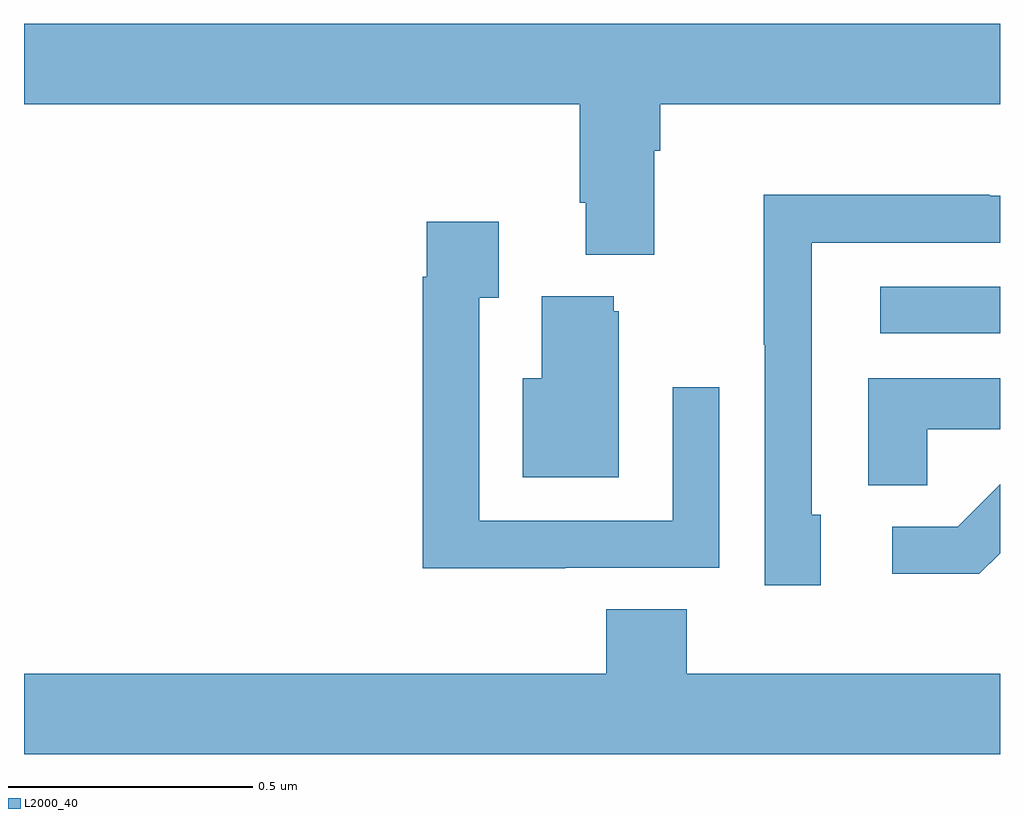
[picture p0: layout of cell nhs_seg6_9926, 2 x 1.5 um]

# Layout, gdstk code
import gdstk
lib = gdstk.Library(unit=1e-6, precision=1e-09)
def R(c, l, rs):  # rectangles x0, y0, x1, y1
    for r in rs: c.add(gdstk.rectangle(r[:2], r[2:], *l))
def P(c, l, *ps):  # polygons
    for p in ps: c.add(gdstk.Polygon(p, *l))
L2000_40 = (2000, 40)

nhs_seg6_9926 = lib.new_cell('nhs_seg6_9926')
R(nhs_seg6_9926, L2000_40, [(241.755,953.526,242,953.622)])
P(nhs_seg6_9926, L2000_40, [(241.291,953.9),(241.304,953.9),(241.304,953.996),(242,953.996),(242,954.16),(240,954.16),(240,953.996),(241.139,953.996),(241.139,953.794),(241.151,953.794),(241.151,953.687),(241.291,953.687)],
  [(241.633,953.154),(241.614,953.154),(241.614,953.712),(242,953.712),(242,953.808),(241.979,953.808),(241.979,953.81),(241.516,953.81),(241.516,953.503),(241.518,953.503),(241.518,953.01),(241.633,953.01)],
  [(241.109,953.046),(241.425,953.046),(241.425,953.416),(241.329,953.416),(241.329,953.142),(240.933,953.142),(240.933,953.599),(240.973,953.599),(240.973,953.755),(240.825,953.755),(240.825,953.642),(240.817,953.642),(240.817,953.045),(241.109,953.045)],
  [(241.219,953.571),(241.208,953.571),(241.208,953.602),(241.061,953.602),(241.061,953.434),(241.022,953.434),(241.022,953.231),(241.219,953.231)],
  [(241.851,953.33),(242,953.33),(242,953.434),(241.73,953.434),(241.73,953.215),(241.851,953.215)],
  [(242,953.075),(242,953.217),(241.913,953.13),(241.779,953.13),(241.779,953.033),(241.957,953.033)],
  [(242,952.828),(241.358,952.828),(241.358,952.961),(241.193,952.961),(241.193,952.828),(240,952.828),(240,952.664),(242,952.664)])

lib.write_gds('nhs_seg6_9926.gds')
